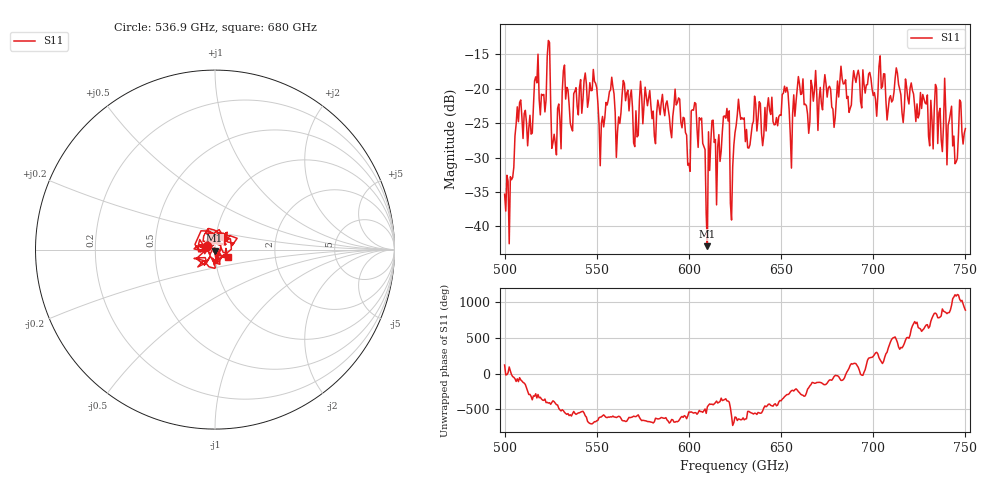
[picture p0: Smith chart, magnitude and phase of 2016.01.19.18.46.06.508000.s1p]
!Created with skrf (http://scikit-rf.org).
# GHz S RI R 50.0
!freq ReS11 ImS11
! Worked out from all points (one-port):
!   401 points, 500 GHz to 750 GHz, reference 50 ohm
!   lowest |S11| = -42.9 dB at 610 GHz (marker M1), VSWR 1.01, Z = 49.8 - j0.682 ohm
!   |S11| at or under -10 dB: start of sweep to end of sweep
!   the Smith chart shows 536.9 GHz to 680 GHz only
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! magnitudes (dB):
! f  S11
! 500 GHz  -35.3
! 503.8 GHz  -33.2
! 507.5 GHz  -24.8
! 513.8 GHz  -23.8
! 516.9 GHz  -18.3
! 520.6 GHz  -20.9
! 523.8 GHz  -13.0
! 526.9 GHz  -26.6
! 531.2 GHz  -20.5
! 562.5 GHz  -25.0
! 593.8 GHz  -22.0
! 599.4 GHz  -31.1
! 602.5 GHz  -23.1
! 606.9 GHz  -24.2
! 610 GHz  -42.9
! 613.1 GHz  -24.5
! 616.2 GHz  -26.6
! 620.6 GHz  -22.8
! 623.8 GHz  -31.3
! 625 GHz  -26.4
! 652.5 GHz  -20.5
! 656.2 GHz  -23.7
! 660.6 GHz  -20.8
! 664.4 GHz  -23.7
! 667.5 GHz  -21.8
! 687.5 GHz  -22.8
! 718.8 GHz  -21.4
! 750 GHz  -25.8
